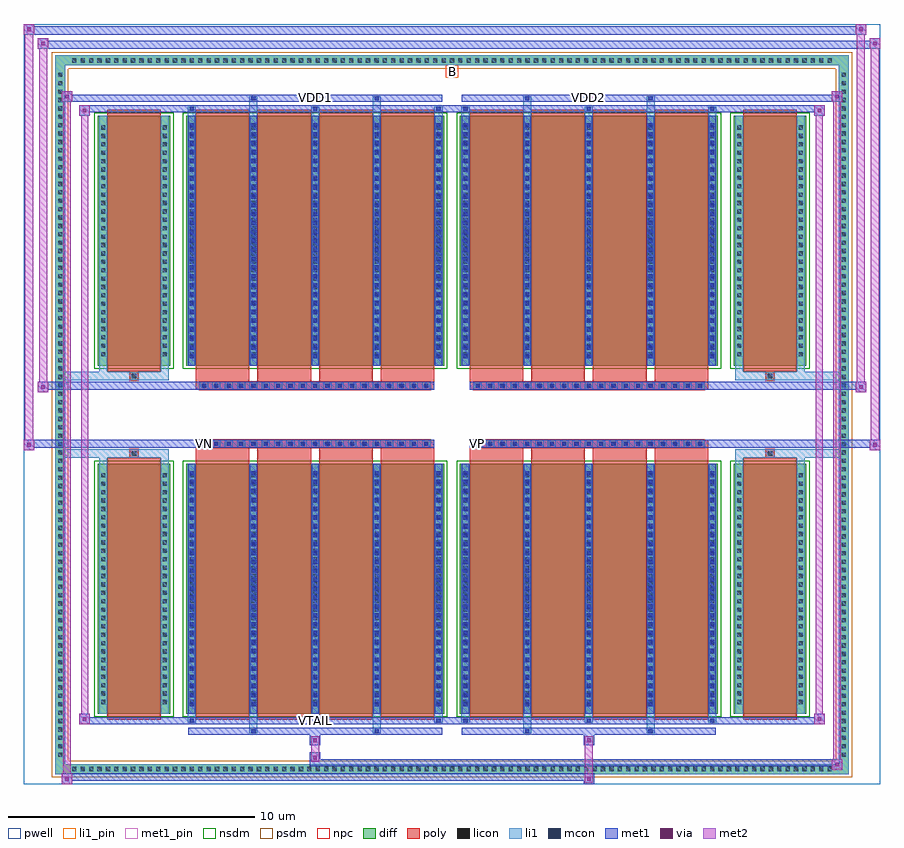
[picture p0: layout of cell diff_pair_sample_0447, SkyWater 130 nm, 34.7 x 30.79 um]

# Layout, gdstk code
import gdstk
lib = gdstk.Library(unit=1e-6, precision=5e-09)
def R(c, l, rs):  # rectangles x0, y0, x1, y1
    for r in rs: c.add(gdstk.rectangle(r[:2], r[2:], *l))
def A(c, l, x, y, w, h, nx, ny, dx, dy):  # array of equal rectangles
    R(c, l, [(x+i*dx, y+j*dy, x+i*dx+w, y+j*dy+h) for i in range(nx) for j in range(ny)])
def P(c, l, *ps):  # polygons
    for p in ps: c.add(gdstk.Polygon(p, *l))
pwell = (64, 44)
diff = (65, 20)
poly = (66, 20)
licon = (66, 44)
li1_pin = (67, 16)
li1 = (67, 20)
mcon = (67, 44)
met1_pin = (68, 16)
met1 = (68, 20)
via = (68, 44)
met2 = (69, 20)
nsdm = (93, 44)
psdm = (94, 20)
npc = (95, 20)

diff_pair_sample_0447 = lib.new_cell('diff_pair_sample_0447')
R(diff_pair_sample_0447, pwell, [(-17.35,-14.96,17.35,15.83), (-14.67,-13.15,-0.01,-0.805), (0.01,-13.15,14.67,-0.805), (-14.67,0.805,-0.01,13.15), (0.01,0.805,14.67,13.15)])
A(diff_pair_sample_0447, diff, -15.505, -14.56, 0.41, 0.41, 91, 2, 0.34, 28.71)
A(diff_pair_sample_0447, diff, -16.08, -13.975, 0.41, 0.41, 1, 82, 0, 0.34)
A(diff_pair_sample_0447, diff, 15.67, -13.975, 0.41, 0.41, 1, 82, 0, 0.34)
R(diff_pair_sample_0447, diff, [(-15.505,-14.56,15.505,-14.15), (-16.08,-13.975,-15.67,13.975), (15.67,-13.975,16.08,13.975), (-14.36,-12.105,-11.41,-1.985), (-10.77,-12.105,-0.32,-1.985), (0.32,-12.105,10.77,-1.985), (11.41,-12.105,14.36,-1.985), (-14.36,1.985,-11.41,12.105), (-10.77,1.985,-0.32,12.105), (0.32,1.985,10.77,12.105), (11.41,1.985,14.36,12.105), (-15.505,14.15,15.505,14.56)])
P(diff_pair_sample_0447, diff, [(16.08,14.56),(-16.08,14.56),(-16.08,-14.15),(-15.67,-14.15),(-15.67,14.15),(15.67,14.15),(15.67,-14.15),(-15.67,-14.15),(-16.08,-14.15),(-16.08,-14.56),(16.08,-14.56)])
A(diff_pair_sample_0447, poly, -10.38, -12.355, 2.17, 10.62, 4, 2, 2.5, 14.09)
A(diff_pair_sample_0447, poly, 0.71, -12.355, 2.17, 10.62, 4, 2, 2.5, 14.09)
A(diff_pair_sample_0447, poly, -10.38, -1.735, 2.17, 0.4, 4, 2, 2.5, 3.07)
A(diff_pair_sample_0447, poly, 0.71, -1.735, 2.17, 0.4, 4, 2, 2.5, 3.07)
A(diff_pair_sample_0447, poly, -10.21, -1.335, 0.33, 0.33, 19, 2, 0.5, 2.34)
A(diff_pair_sample_0447, poly, 0.88, -1.335, 0.33, 0.33, 19, 2, 0.5, 2.34)
R(diff_pair_sample_0447, poly, [(-13.97,-12.355,-11.8,-1.735), (11.8,-12.355,13.97,-1.735), (-13.05,-1.735,-12.72,-1.405), (-13.05,-1.735,-12.72,-1.405), (12.72,-1.735,13.05,-1.405), (12.72,-1.735,13.05,-1.405), (-10.38,-1.335,-0.71,-1.005), (0.71,-1.335,10.38,-1.005), (-10.38,1.005,-0.71,1.335), (0.71,1.005,10.38,1.335), (-13.05,1.405,-12.72,1.735), (-13.05,1.405,-12.72,1.735), (12.72,1.405,13.05,1.735), (12.72,1.405,13.05,1.735), (-13.97,1.735,-11.8,12.355), (11.8,1.735,13.97,12.355)])
A(diff_pair_sample_0447, licon, -15.385, -14.44, 0.17, 0.17, 91, 2, 0.34, 28.71)
A(diff_pair_sample_0447, licon, -15.96, -13.855, 0.17, 0.17, 1, 82, 0, 0.34)
A(diff_pair_sample_0447, licon, 15.79, -13.855, 0.17, 0.17, 1, 82, 0, 0.34)
A(diff_pair_sample_0447, licon, -14.22, -11.72, 0.17, 0.17, 1, 28, 0, 0.34)
A(diff_pair_sample_0447, licon, -11.72, -11.72, 0.17, 0.17, 1, 28, 0, 0.34)
A(diff_pair_sample_0447, licon, -10.63, -11.72, 0.17, 0.17, 5, 28, 2.5, 0.34)
A(diff_pair_sample_0447, licon, 0.46, -11.72, 0.17, 0.17, 5, 28, 2.5, 0.34)
A(diff_pair_sample_0447, licon, 11.55, -11.72, 0.17, 0.17, 1, 28, 0, 0.34)
A(diff_pair_sample_0447, licon, 14.05, -11.72, 0.17, 0.17, 1, 28, 0, 0.34)
A(diff_pair_sample_0447, licon, -10.13, -1.255, 0.17, 0.17, 19, 2, 0.5, 2.34)
A(diff_pair_sample_0447, licon, 0.96, -1.255, 0.17, 0.17, 19, 2, 0.5, 2.34)
A(diff_pair_sample_0447, licon, -14.22, 2.37, 0.17, 0.17, 1, 28, 0, 0.34)
A(diff_pair_sample_0447, licon, -11.72, 2.37, 0.17, 0.17, 1, 28, 0, 0.34)
A(diff_pair_sample_0447, licon, -10.63, 2.37, 0.17, 0.17, 5, 28, 2.5, 0.34)
A(diff_pair_sample_0447, licon, 0.46, 2.37, 0.17, 0.17, 5, 28, 2.5, 0.34)
A(diff_pair_sample_0447, licon, 11.55, 2.37, 0.17, 0.17, 1, 28, 0, 0.34)
A(diff_pair_sample_0447, licon, 14.05, 2.37, 0.17, 0.17, 1, 28, 0, 0.34)
R(diff_pair_sample_0447, licon, [(-12.97,-1.655,-12.8,-1.485), (12.8,-1.655,12.97,-1.485), (-12.97,1.485,-12.8,1.655), (12.8,1.485,12.97,1.655)])
R(diff_pair_sample_0447, li1_pin, [(-0.25,13.65,0.25,14.15)])
A(diff_pair_sample_0447, li1, -15.465, -14.52, 0.33, 0.33, 91, 2, 0.34, 28.71)
A(diff_pair_sample_0447, li1, -16.04, -13.935, 0.33, 0.33, 1, 82, 0, 0.34)
A(diff_pair_sample_0447, li1, 15.71, -13.935, 0.33, 0.33, 1, 82, 0, 0.34)
A(diff_pair_sample_0447, li1, -10.71, -12.48, 0.33, 0.375, 3, 2, 5, 24.585)
A(diff_pair_sample_0447, li1, -10.63, -12.48, 0.17, 0.17, 3, 2, 5, 24.79)
A(diff_pair_sample_0447, li1, 0.38, -12.48, 0.33, 0.375, 3, 2, 5, 24.585)
A(diff_pair_sample_0447, li1, 0.46, -12.48, 0.17, 0.17, 3, 2, 5, 24.79)
A(diff_pair_sample_0447, li1, -10.71, -12.105, 0.33, 10.12, 5, 2, 2.5, 14.09)
A(diff_pair_sample_0447, li1, 0.38, -12.105, 0.33, 10.12, 5, 2, 2.5, 14.09)
A(diff_pair_sample_0447, li1, -10.63, -11.81, 0.17, 0.17, 5, 27, 2.5, 0.36)
A(diff_pair_sample_0447, li1, -10.63, -11.81, 0.17, 9.53, 5, 2, 2.5, 14.09)
A(diff_pair_sample_0447, li1, 0.46, -11.81, 0.17, 0.17, 5, 27, 2.5, 0.36)
A(diff_pair_sample_0447, li1, 0.46, -11.81, 0.17, 9.53, 5, 2, 2.5, 14.09)
A(diff_pair_sample_0447, li1, -14.3, -11.8, 0.33, 0.33, 1, 28, 0, 0.34)
A(diff_pair_sample_0447, li1, -11.8, -11.8, 0.33, 0.33, 1, 28, 0, 0.34)
A(diff_pair_sample_0447, li1, -10.71, -11.8, 0.33, 0.33, 5, 28, 2.5, 0.34)
A(diff_pair_sample_0447, li1, 0.38, -11.8, 0.33, 0.33, 5, 28, 2.5, 0.34)
A(diff_pair_sample_0447, li1, 11.47, -11.8, 0.33, 0.33, 1, 28, 0, 0.34)
A(diff_pair_sample_0447, li1, 13.97, -11.8, 0.33, 0.33, 1, 28, 0, 0.34)
A(diff_pair_sample_0447, li1, -10.21, -1.335, 0.33, 0.33, 19, 2, 0.5, 2.34)
A(diff_pair_sample_0447, li1, 0.88, -1.335, 0.33, 0.33, 19, 2, 0.5, 2.34)
A(diff_pair_sample_0447, li1, -10.63, 2.28, 0.17, 0.17, 5, 27, 2.5, 0.36)
A(diff_pair_sample_0447, li1, 0.46, 2.28, 0.17, 0.17, 5, 27, 2.5, 0.36)
A(diff_pair_sample_0447, li1, -14.3, 2.29, 0.33, 0.33, 1, 28, 0, 0.34)
A(diff_pair_sample_0447, li1, -11.8, 2.29, 0.33, 0.33, 1, 28, 0, 0.34)
A(diff_pair_sample_0447, li1, -10.71, 2.29, 0.33, 0.33, 5, 28, 2.5, 0.34)
A(diff_pair_sample_0447, li1, 0.38, 2.29, 0.33, 0.33, 5, 28, 2.5, 0.34)
A(diff_pair_sample_0447, li1, 11.47, 2.29, 0.33, 0.33, 1, 28, 0, 0.34)
A(diff_pair_sample_0447, li1, 13.97, 2.29, 0.33, 0.33, 1, 28, 0, 0.34)
R(diff_pair_sample_0447, li1, [(-16.08,-14.56,-15.67,-14.15), (-16.08,-14.56,-15.67,-14.15), (-15.67,-14.56,15.67,-14.15), (15.67,-14.56,16.08,-14.15), (15.67,-14.56,16.08,-14.15), (-16.08,-14.15,-15.67,14.15), (15.67,-14.15,16.08,14.15), (-8.21,-12.91,-7.88,-12.105), (-8.13,-12.91,-7.96,-12.74), (-3.21,-12.91,-2.88,-12.105), (-3.13,-12.91,-2.96,-12.74), (2.88,-12.91,3.21,-12.105), (2.96,-12.91,3.13,-12.74), (7.88,-12.91,8.21,-12.105), (7.96,-12.91,8.13,-12.74), (-14.3,-12.105,-13.97,-1.985), (-11.8,-12.105,-11.47,-1.985), (11.47,-12.105,11.8,-1.985), (13.97,-12.105,14.3,-1.985), (-14.3,-1.985,-13.97,-1.405), (-11.8,-1.985,-11.47,-1.405), (11.47,-1.985,11.8,-1.405), (13.97,-1.985,14.3,-1.405), (-16.08,-1.735,-13.05,-1.405), (-14.3,-1.735,-13.05,-1.405), (-13.05,-1.735,-12.72,-1.405), (-12.72,-1.735,-11.47,-1.405), (11.47,-1.735,12.72,-1.405), (12.72,-1.735,13.05,-1.405), (12.72,-1.735,16.08,-1.405), (13.05,-1.735,14.3,-1.405), (-16.08,1.405,-13.05,1.735), (-14.3,1.405,-13.05,1.735), (-14.3,1.405,-13.97,1.985), (-13.05,1.405,-12.72,1.735), (-12.72,1.405,-11.47,1.735), (-11.8,1.405,-11.47,1.985), (11.47,1.405,12.72,1.735), (11.47,1.405,11.8,1.985), (12.72,1.405,13.05,1.735), (12.72,1.405,16.08,1.735), (13.05,1.405,14.3,1.735), (13.97,1.405,14.3,1.985), (-14.3,1.985,-13.97,12.105), (-11.8,1.985,-11.47,12.105), (11.47,1.985,11.8,12.105), (13.97,1.985,14.3,12.105), (-8.21,12.105,-7.88,12.91), (-3.21,12.105,-2.88,12.91), (2.88,12.105,3.21,12.91), (7.88,12.105,8.21,12.91), (-8.13,12.74,-7.96,12.91), (-3.13,12.74,-2.96,12.91), (2.96,12.74,3.13,12.91), (7.96,12.74,8.13,12.91), (-16.08,14.15,-15.67,14.56), (-16.08,14.15,-15.67,14.56), (-15.67,14.15,15.67,14.56), (15.67,14.15,16.08,14.56), (15.67,14.15,16.08,14.56)])
A(diff_pair_sample_0447, mcon, -10.63, -12.48, 0.17, 0.17, 3, 2, 5, 24.79)
A(diff_pair_sample_0447, mcon, 0.46, -12.48, 0.17, 0.17, 3, 2, 5, 24.79)
A(diff_pair_sample_0447, mcon, -10.63, -11.81, 0.17, 0.17, 5, 27, 2.5, 0.36)
A(diff_pair_sample_0447, mcon, 0.46, -11.81, 0.17, 0.17, 5, 27, 2.5, 0.36)
A(diff_pair_sample_0447, mcon, -10.13, -1.255, 0.17, 0.17, 19, 2, 0.5, 2.34)
A(diff_pair_sample_0447, mcon, 0.96, -1.255, 0.17, 0.17, 19, 2, 0.5, 2.34)
A(diff_pair_sample_0447, mcon, -10.63, 2.28, 0.17, 0.17, 5, 27, 2.5, 0.36)
A(diff_pair_sample_0447, mcon, 0.46, 2.28, 0.17, 0.17, 5, 27, 2.5, 0.36)
R(diff_pair_sample_0447, mcon, [(-8.13,-12.91,-7.96,-12.74), (-3.13,-12.91,-2.96,-12.74), (2.96,-12.91,3.13,-12.74), (7.96,-12.91,8.13,-12.74), (-8.13,12.74,-7.96,12.91), (-3.13,12.74,-2.96,12.91), (2.96,12.74,3.13,12.91), (7.96,12.74,8.13,12.91)])
R(diff_pair_sample_0447, met1_pin, [(-5.68,-12.52,-5.41,-12.25), (-10.18,-1.295,-9.91,-1.025), (0.91,-1.295,1.18,-1.025), (-5.68,12.7,-5.41,12.97), (5.41,12.7,5.68,12.97)])
A(diff_pair_sample_0447, met1, -10.69, -12.54, 0.29, 0.29, 3, 2, 5, 24.79)
A(diff_pair_sample_0447, met1, 0.4, -12.54, 0.29, 0.29, 3, 2, 5, 24.79)
A(diff_pair_sample_0447, met1, -10.69, -12.105, 0.29, 10.12, 5, 2, 2.5, 14.09)
A(diff_pair_sample_0447, met1, 0.4, -12.105, 0.29, 10.12, 5, 2, 2.5, 14.09)
A(diff_pair_sample_0447, met1, -10.69, -11.87, 0.29, 0.29, 5, 27, 2.5, 0.36)
A(diff_pair_sample_0447, met1, 0.4, -11.87, 0.29, 0.29, 5, 27, 2.5, 0.36)
A(diff_pair_sample_0447, met1, -10.19, -1.315, 0.29, 0.29, 19, 2, 0.5, 2.34)
A(diff_pair_sample_0447, met1, 0.9, -1.315, 0.29, 0.29, 19, 2, 0.5, 2.34)
A(diff_pair_sample_0447, met1, -10.69, 2.22, 0.29, 0.29, 5, 27, 2.5, 0.36)
A(diff_pair_sample_0447, met1, 0.4, 2.22, 0.29, 0.29, 5, 27, 2.5, 0.36)
R(diff_pair_sample_0447, met1, [(-15.81,-14.96,-15.38,-14.53), (5.33,-14.96,5.76,-14.53), (-15.81,-14.82,5.76,-14.53), (15.38,-14.39,15.81,-13.96), (-5.76,-14.25,15.81,-13.96), (-5.76,-14.11,-5.33,-13.68), (-5.76,-13.4,-5.33,-12.97), (5.33,-13.4,5.76,-12.97), (-10.69,-12.97,-0.4,-12.68), (-8.19,-12.97,-7.9,-12.68), (-3.19,-12.97,-2.9,-12.68), (0.4,-12.97,10.69,-12.68), (2.9,-12.97,3.19,-12.68), (7.9,-12.97,8.19,-12.68), (-15.1,-12.54,-14.67,-12.11), (-15.1,-12.54,-10.69,-12.25), (-10.69,-12.54,-0.4,-12.25), (-0.4,-12.54,0.4,-12.25), (0.4,-12.54,10.69,-12.25), (10.69,-12.54,15.1,-12.25), (14.67,-12.54,15.1,-12.11), (-17.35,-1.435,-16.92,-1.005), (16.92,-1.435,17.35,-1.005), (-17.35,-1.335,-0.71,-1.005), (-10.38,-1.335,-0.71,-1.005), (0.71,-1.335,10.38,-1.005), (0.71,-1.335,17.35,-1.005), (-16.78,0.905,-16.35,1.335), (16.35,0.905,16.78,1.335), (-16.78,1.005,-10.38,1.335), (-10.38,1.005,-0.71,1.335), (0.71,1.005,10.38,1.335), (10.38,1.005,16.78,1.335), (-15.1,12.11,-14.67,12.54), (14.67,12.11,15.1,12.54), (-15.1,12.25,-10.69,12.54), (-10.69,12.25,-0.4,12.54), (-0.4,12.25,0.4,12.54), (0.4,12.25,10.69,12.54), (10.69,12.25,15.1,12.54), (-15.81,12.68,-15.38,13.11), (-15.81,12.68,-10.69,12.97), (-10.69,12.68,-0.4,12.97), (-8.19,12.68,-7.9,12.97), (-3.19,12.68,-2.9,12.97), (0.4,12.68,10.69,12.97), (2.9,12.68,3.19,12.97), (7.9,12.68,8.19,12.97), (10.69,12.68,15.81,12.97), (15.38,12.68,15.81,13.11), (-16.78,14.83,-16.35,15.26), (-16.78,14.83,-14.67,15.16), (-14.67,14.83,14.67,15.16), (14.67,14.83,17.35,15.16), (16.92,14.83,17.35,15.26), (-17.35,15.4,-16.92,15.83), (-17.35,15.4,-14.67,15.73), (-14.67,15.4,14.67,15.73), (14.67,15.4,16.78,15.73), (16.35,15.4,16.78,15.83)])
R(diff_pair_sample_0447, via, [(-15.67,-14.82,-15.52,-14.67), (5.47,-14.82,5.62,-14.67), (15.52,-14.25,15.67,-14.1), (-5.62,-13.97,-5.47,-13.82), (-5.62,-13.26,-5.47,-13.11), (5.47,-13.26,5.62,-13.11), (-14.96,-12.4,-14.81,-12.25), (14.81,-12.4,14.96,-12.25), (-17.21,-1.295,-17.06,-1.145), (17.06,-1.295,17.21,-1.145), (-16.64,1.045,-16.49,1.195), (16.49,1.045,16.64,1.195), (-14.96,12.25,-14.81,12.4), (14.81,12.25,14.96,12.4), (-15.67,12.82,-15.52,12.97), (15.52,12.82,15.67,12.97), (-16.64,14.97,-16.49,15.12), (17.06,14.97,17.21,15.12), (-17.21,15.54,-17.06,15.69), (16.49,15.54,16.64,15.69)])
R(diff_pair_sample_0447, met2, [(-15.81,-14.96,-15.38,-14.53), (-15.74,-14.96,-15.45,13.11), (-15.45,-14.96,-15.38,-14.53), (-15.76,-14.91,-15.43,-14.58), (5.38,-14.91,5.71,-14.58), (5.38,-14.58,5.71,-13.35), (15.38,-14.39,15.81,-13.96), (15.45,-14.39,15.74,13.11), (15.74,-14.39,15.81,-13.96), (15.43,-14.34,15.76,-14.01), (-5.71,-14.06,-5.38,-13.73), (-5.71,-13.73,-5.38,-13.35), (-5.71,-13.35,-5.38,-13.02), (5.38,-13.35,5.71,-13.02), (-15.1,-12.54,-14.67,-12.11), (-15.03,-12.54,-14.74,12.54), (-14.74,-12.54,-14.67,-12.11), (14.67,-12.54,15.1,-12.11), (14.74,-12.54,15.03,12.54), (15.03,-12.54,15.1,-12.11), (-15.05,-12.49,-14.72,-12.16), (14.72,-12.49,15.05,-12.16), (-17.35,-1.435,-16.92,-1.005), (-17.3,-1.435,-16.97,15.83), (-16.97,-1.435,-16.92,-1.005), (16.92,-1.435,17.35,-1.005), (16.97,-1.435,17.3,15.26), (17.3,-1.435,17.35,-1.005), (-17.3,-1.385,-16.97,-1.055), (16.97,-1.385,17.3,-1.055), (-16.78,0.905,-16.35,1.335), (-16.73,0.905,-16.4,15.26), (-16.4,0.905,-16.35,1.335), (16.35,0.905,16.78,1.335), (16.4,0.905,16.73,15.83), (16.73,0.905,16.78,1.335), (-16.73,0.955,-16.4,1.285), (16.4,0.955,16.73,1.285), (-15.1,12.11,-14.67,12.54), (-14.74,12.11,-14.67,12.54), (14.67,12.11,15.1,12.54), (15.03,12.11,15.1,12.54), (-15.05,12.16,-14.72,12.49), (14.72,12.16,15.05,12.49), (-15.81,12.68,-15.38,13.11), (-15.45,12.68,-15.38,13.11), (15.38,12.68,15.81,13.11), (15.74,12.68,15.81,13.11), (-15.76,12.73,-15.43,13.06), (15.43,12.73,15.76,13.06), (-16.78,14.83,-16.35,15.26), (-16.4,14.83,-16.35,15.26), (16.92,14.83,17.35,15.26), (17.3,14.83,17.35,15.26), (-16.73,14.88,-16.4,15.21), (16.97,14.88,17.3,15.21), (-17.35,15.4,-16.92,15.83), (-16.97,15.4,-16.92,15.83), (16.35,15.4,16.78,15.83), (16.73,15.4,16.78,15.83), (-17.3,15.45,-16.97,15.78), (16.4,15.45,16.73,15.78)])
R(diff_pair_sample_0447, nsdm, [(-14.49,-12.235,-11.28,-1.855), (-10.9,-12.235,-0.19,-1.855), (0.19,-12.235,10.9,-1.855), (11.28,-12.235,14.49,-1.855), (-14.49,1.855,-11.28,12.235), (-10.9,1.855,-0.19,12.235), (0.19,1.855,10.9,12.235), (11.28,1.855,14.49,12.235)])
P(diff_pair_sample_0447, psdm, [(16.21,14.69),(-16.21,14.69),(-16.21,-14.02),(-15.54,-14.02),(-15.54,14.02),(15.54,14.02),(15.54,-14.02),(-15.54,-14.02),(-16.21,-14.02),(-16.21,-14.69),(16.21,-14.69)])
A(diff_pair_sample_0447, npc, -10.23, -1.355, 0.37, 0.37, 19, 2, 0.5, 2.34)
A(diff_pair_sample_0447, npc, 0.86, -1.355, 0.37, 0.37, 19, 2, 0.5, 2.34)
R(diff_pair_sample_0447, npc, [(-13.07,-1.755,-12.7,-1.385), (12.7,-1.755,13.07,-1.385), (-10.23,-1.355,-9.36,-0.985), (-10.23,-1.355,-9.36,-0.985), (-9.73,-1.355,-8.86,-0.985), (-9.73,-1.355,-8.86,-0.985), (-9.23,-1.355,-8.36,-0.985), (-9.23,-1.355,-8.36,-0.985), (-8.73,-1.355,-7.86,-0.985), (-8.73,-1.355,-7.86,-0.985), (-8.23,-1.355,-7.36,-0.985), (-8.23,-1.355,-7.36,-0.985), (-7.73,-1.355,-6.86,-0.985), (-7.73,-1.355,-6.86,-0.985), (-7.23,-1.355,-6.36,-0.985), (-7.23,-1.355,-6.36,-0.985), (-6.73,-1.355,-5.86,-0.985), (-6.73,-1.355,-5.86,-0.985), (-6.23,-1.355,-5.36,-0.985), (-6.23,-1.355,-5.36,-0.985), (-5.73,-1.355,-4.86,-0.985), (-5.73,-1.355,-4.86,-0.985), (-5.23,-1.355,-4.36,-0.985), (-5.23,-1.355,-4.36,-0.985), (-4.73,-1.355,-3.86,-0.985), (-4.73,-1.355,-3.86,-0.985), (-4.23,-1.355,-3.36,-0.985), (-4.23,-1.355,-3.36,-0.985), (-3.73,-1.355,-2.86,-0.985), (-3.73,-1.355,-2.86,-0.985), (-3.23,-1.355,-2.36,-0.985), (-3.23,-1.355,-2.36,-0.985), (-2.73,-1.355,-1.86,-0.985), (-2.73,-1.355,-1.86,-0.985), (-2.23,-1.355,-1.36,-0.985), (-2.23,-1.355,-1.36,-0.985), (-1.73,-1.355,-0.86,-0.985), (-1.73,-1.355,-0.86,-0.985), (0.86,-1.355,1.73,-0.985), (0.86,-1.355,1.73,-0.985), (1.36,-1.355,2.23,-0.985), (1.36,-1.355,2.23,-0.985), (1.86,-1.355,2.73,-0.985), (1.86,-1.355,2.73,-0.985), (2.36,-1.355,3.23,-0.985), (2.36,-1.355,3.23,-0.985), (2.86,-1.355,3.73,-0.985), (2.86,-1.355,3.73,-0.985), (3.36,-1.355,4.23,-0.985), (3.36,-1.355,4.23,-0.985), (3.86,-1.355,4.73,-0.985), (3.86,-1.355,4.73,-0.985), (4.36,-1.355,5.23,-0.985), (4.36,-1.355,5.23,-0.985), (4.86,-1.355,5.73,-0.985), (4.86,-1.355,5.73,-0.985), (5.36,-1.355,6.23,-0.985), (5.36,-1.355,6.23,-0.985), (5.86,-1.355,6.73,-0.985), (5.86,-1.355,6.73,-0.985), (6.36,-1.355,7.23,-0.985), (6.36,-1.355,7.23,-0.985), (6.86,-1.355,7.73,-0.985), (6.86,-1.355,7.73,-0.985), (7.36,-1.355,8.23,-0.985), (7.36,-1.355,8.23,-0.985), (7.86,-1.355,8.73,-0.985), (7.86,-1.355,8.73,-0.985), (8.36,-1.355,9.23,-0.985), (8.36,-1.355,9.23,-0.985), (8.86,-1.355,9.73,-0.985), (8.86,-1.355,9.73,-0.985), (9.36,-1.355,10.23,-0.985), (9.36,-1.355,10.23,-0.985), (-10.23,0.985,-9.36,1.355), (-10.23,0.985,-9.36,1.355), (-9.73,0.985,-8.86,1.355), (-9.73,0.985,-8.86,1.355), (-9.23,0.985,-8.36,1.355), (-9.23,0.985,-8.36,1.355), (-8.73,0.985,-7.86,1.355), (-8.73,0.985,-7.86,1.355), (-8.23,0.985,-7.36,1.355), (-8.23,0.985,-7.36,1.355), (-7.73,0.985,-6.86,1.355), (-7.73,0.985,-6.86,1.355), (-7.23,0.985,-6.36,1.355), (-7.23,0.985,-6.36,1.355), (-6.73,0.985,-5.86,1.355), (-6.73,0.985,-5.86,1.355), (-6.23,0.985,-5.36,1.355), (-6.23,0.985,-5.36,1.355), (-5.73,0.985,-4.86,1.355), (-5.73,0.985,-4.86,1.355), (-5.23,0.985,-4.36,1.355), (-5.23,0.985,-4.36,1.355), (-4.73,0.985,-3.86,1.355), (-4.73,0.985,-3.86,1.355), (-4.23,0.985,-3.36,1.355), (-4.23,0.985,-3.36,1.355), (-3.73,0.985,-2.86,1.355), (-3.73,0.985,-2.86,1.355), (-3.23,0.985,-2.36,1.355), (-3.23,0.985,-2.36,1.355), (-2.73,0.985,-1.86,1.355), (-2.73,0.985,-1.86,1.355), (-2.23,0.985,-1.36,1.355), (-2.23,0.985,-1.36,1.355), (-1.73,0.985,-0.86,1.355), (-1.73,0.985,-0.86,1.355), (0.86,0.985,1.73,1.355), (0.86,0.985,1.73,1.355), (1.36,0.985,2.23,1.355), (1.36,0.985,2.23,1.355), (1.86,0.985,2.73,1.355), (1.86,0.985,2.73,1.355), (2.36,0.985,3.23,1.355), (2.36,0.985,3.23,1.355), (2.86,0.985,3.73,1.355), (2.86,0.985,3.73,1.355), (3.36,0.985,4.23,1.355), (3.36,0.985,4.23,1.355), (3.86,0.985,4.73,1.355), (3.86,0.985,4.73,1.355), (4.36,0.985,5.23,1.355), (4.36,0.985,5.23,1.355), (4.86,0.985,5.73,1.355), (4.86,0.985,5.73,1.355), (5.36,0.985,6.23,1.355), (5.36,0.985,6.23,1.355), (5.86,0.985,6.73,1.355), (5.86,0.985,6.73,1.355), (6.36,0.985,7.23,1.355), (6.36,0.985,7.23,1.355), (6.86,0.985,7.73,1.355), (6.86,0.985,7.73,1.355), (7.36,0.985,8.23,1.355), (7.36,0.985,8.23,1.355), (7.86,0.985,8.73,1.355), (7.86,0.985,8.73,1.355), (8.36,0.985,9.23,1.355), (8.36,0.985,9.23,1.355), (8.86,0.985,9.73,1.355), (8.86,0.985,9.73,1.355), (9.36,0.985,10.23,1.355), (9.36,0.985,10.23,1.355), (-13.07,1.385,-12.7,1.755), (12.7,1.385,13.07,1.755)])
diff_pair_sample_0447.add(gdstk.Label('VTAIL', (-5.545,-12.385), layer=68, texttype=5))
diff_pair_sample_0447.add(gdstk.Label('VN', (-10.045,-1.16), layer=68, texttype=5))
diff_pair_sample_0447.add(gdstk.Label('VP', (1.045,-1.16), layer=68, texttype=5))
diff_pair_sample_0447.add(gdstk.Label('B', (0,13.9), layer=67, texttype=5))
diff_pair_sample_0447.add(gdstk.Label('VDD2', (5.545,12.835), layer=68, texttype=5))
diff_pair_sample_0447.add(gdstk.Label('VDD1', (-5.545,12.835), layer=68, texttype=5))

lib.write_gds('diff_pair_sample_0447.gds')
